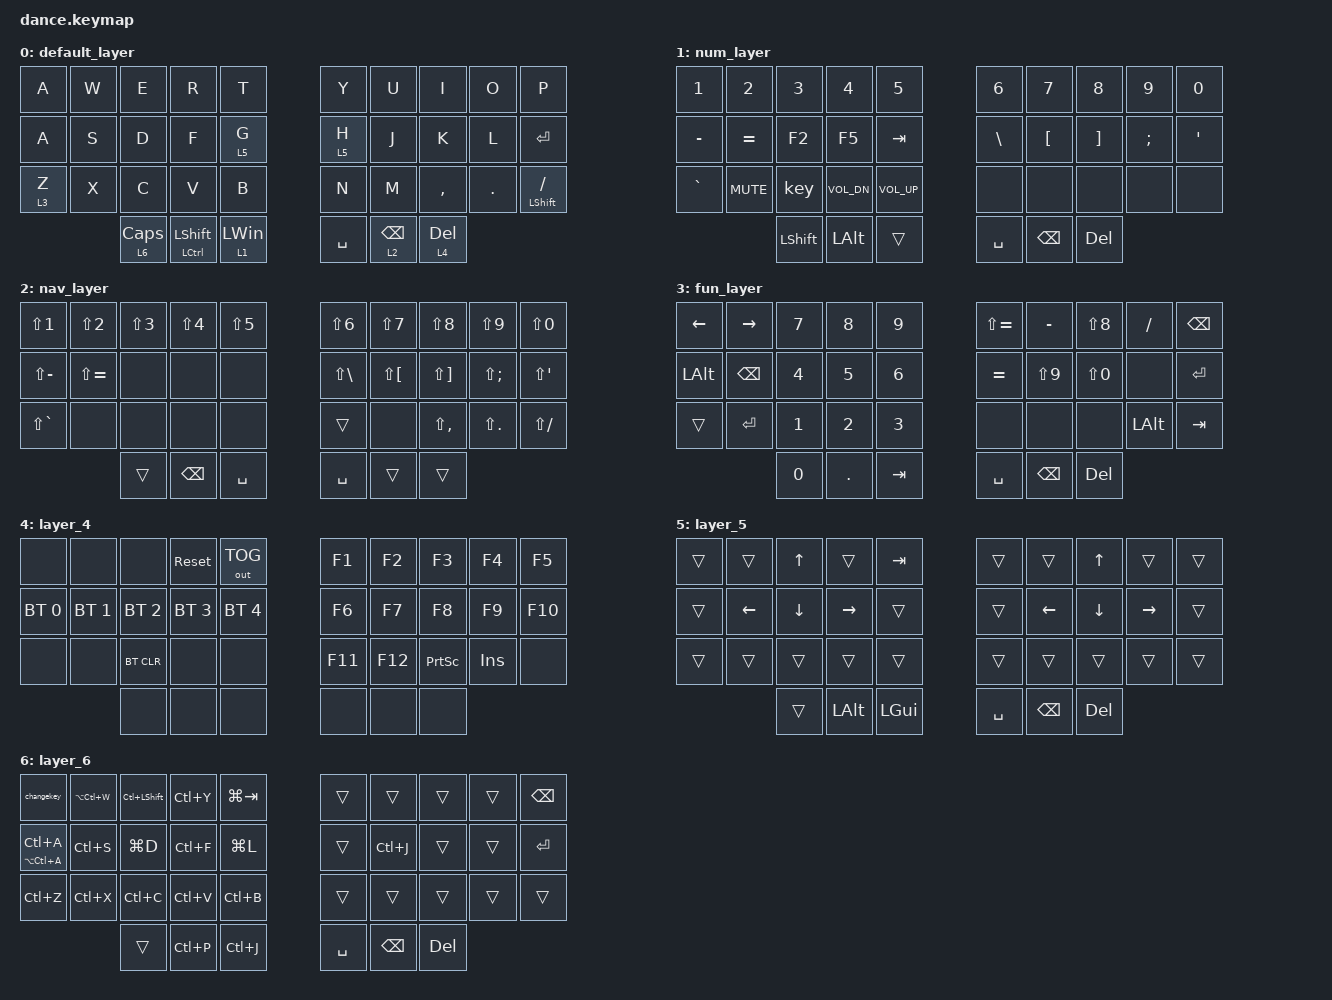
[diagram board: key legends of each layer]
/*
 * Copyright (c) 2020 The ZMK Contributors
 *
 * SPDX-License-Identifier: MIT
 */

#include <behaviors.dtsi>
#include <dt-bindings/zmk/bt.h>
#include <dt-bindings/zmk/keys.h>
#include <dt-bindings/zmk/outputs.h>

#define DEFAULT 0
#define NUM 1
#define SYM 2
#define NUM 3
#define BT 4
#define ARROWS 5
#define FUN 6

&lt { flavor = "tap-preferred"; };

&mt { flavor = "tap-preferred"; };

/ {
    conditional_layers { compatible = "zmk,conditional-layers"; };

    behaviors {
        bspc_del: backspace_delete {
            compatible = "zmk,behavior-mod-morph";
            label = "BACKSPACE_DELETE";
            #binding-cells = <0>;
            bindings = <&kp BACKSPACE>, <&kp DELETE>;

            mods = <(MOD_LSFT|MOD_RSFT)>;
            keep-mods = <(MOD_RSFT)>;
        };

        smart_shft: smart_shift {
            compatible = "zmk,behavior-mod-morph";
            label = "SMART_SHIFT";
            #binding-cells = <0>;
            bindings = <&sk LSHFT>, <&caps_word>;

            mods = <(MOD_LSFT)>;
        };

        comma_semi: comma_semi {
            compatible = "zmk,behavior-mod-morph";
            label = "COMMA_SEMI";
            #binding-cells = <0>;
            bindings = <&kp COMMA>, <&kp SEMI>;

            mods = <(MOD_LSFT)>;
        };

        dot_colon: dot_colon {
            compatible = "zmk,behavior-mod-morph";
            label = "DOT_COLON";
            #binding-cells = <0>;
            bindings = <&kp DOT>, <&kp COLON>;

            mods = <(MOD_LSFT)>;
        };

        qmrk_excl: qmrk_excl {
            compatible = "zmk,behavior-mod-morph";
            label = "QUESTION_EXCLAMATION";
            #binding-cells = <0>;
            bindings = <&kp QMARK>, <&kp EXCL>;

            mods = <(MOD_LSFT)>;
        };

        slh_morph: slh_morph {
            compatible = "zmk,behavior-mod-morph";
            label = "SLASH_MORPH";
            #binding-cells = <0>;
            bindings = <&kp FSLH>, <&kp BSLH>;

            mods = <(MOD_LSFT)>;
        };

        amps_morph: amps_morph {
            compatible = "zmk,behavior-mod-morph";
            label = "AMPERSAND_MORPH";
            #binding-cells = <0>;
            bindings = <&kp AMPS>, <&kp PIPE>;

            mods = <(MOD_LSFT)>;
        };

        apos_quote: apos_quote {
            compatible = "zmk,behavior-mod-morph";
            label = "APOSTROPHE_QUOTATION";
            #binding-cells = <0>;
            bindings = <&kp SQT>, <&kp DOUBLE_QUOTES>;

            mods = <(MOD_LSFT)>;
        };

        ltq: ltq {
            compatible = "zmk,behavior-hold-tap";
            label = "LTQ";
            bindings = <&mo>, <&kp>;

            #binding-cells = <2>;
            tapping-term-ms = <200>;
            quick-tap-ms = <180>;
            flavor = "tap-preferred";
        };
    };

    combos {
        compatible = "zmk,combos";

        jkentert {
            bindings = <&kp RET>;
            key-positions = <18 19>;
        };

        uibackspace {
            bindings = <&kp BACKSPACE>;
            key-positions = <8 9>;
        };

        del {
            bindings = <&kp DELETE>;
            key-positions = <10 11>;
        };

        esc {
            bindings = <&kp ESCAPE>;
            key-positions = <0 1>;
        };

        tab {
            bindings = <&kp LS(TAB)>;
            key-positions = <28 29>;
        };

        caps {
            bindings = <&kp CAPSLOCK>;
            key-positions = <20 21>;
        };

        home {
            bindings = <&kp HOME>;
            key-positions = <2 3>;
        };

        end {
            bindings = <&kp END>;
            key-positions = <12 13>;
        };

        pu {
            bindings = <&kp PAGE_UP>;
            key-positions = <6 7>;
        };

        pd {
            bindings = <&kp PAGE_DOWN>;
            key-positions = <16 17>;
        };
    };

    macros {
        key: key {
            compatible = "zmk,behavior-macro";
            #binding-cells = <0>;
            bindings = <&kp LS(C) &kp H &kp L &kp DOT &kp N8 &kp N8 &kp N0 &kp N6 &kp N0 &kp N2 &kp AMPS &kp STAR &kp LPAR &kp ENTER>;
            label = "KEY";
        };

        changekey: changekey {
            compatible = "zmk,behavior-macro";
            #binding-cells = <0>;
            bindings = <&kp LS(C) &kp H &kp L &kp DOT &kp N8 &kp N8 &kp N0 &kp N6 &kp N0 &kp N2 &kp CARET &kp AMPS &kp STAR>;
            label = "CHANGEKEY";
        };
    };

    keymap {
        compatible = "zmk,keymap";

        default_layer {
            bindings = <
  &kp A    &kp W  &kp E           &kp R                 &kp T             &kp Y      &kp U             &kp I         &kp O    &kp P
  &kp A    &kp S  &kp D           &kp F                 &lt 5 G           &lt 5 H    &kp J             &kp K         &kp L    &kp ENTER
  &lt 3 Z  &kp X  &kp C           &kp V                 &kp B             &kp N      &kp M             &kp COMMA     &kp DOT  &mt LEFT_SHIFT SLASH
                  &lt 6 CAPSLOCK  &mt LCTRL LEFT_SHIFT  &lt 1 LEFT_WIN    &kp SPACE  &ltq 2 BACKSPACE  &lt 4 DELETE
            >;
        };

        num_layer {
            bindings = <
  &kp N1     &kp N2      &kp N3     &kp N4        &kp N5          &kp N6     &kp N7    &kp N8      &kp N9    &kp N0
  &kp MINUS  &kp EQUAL   &kp F2     &kp F5        &kp TAB         &kp BSLH   &kp LBKT  &kp RBKT    &kp SEMI  &kp APOS
  &kp GRAVE  &kp C_MUTE  &key       &kp C_VOL_DN  &kp C_VOL_UP    &none      &none     &none       &none     &none
                         &kp LSHFT  &kp LALT      &trans          &kp SPACE  &kp BSPC  &kp DELETE
            >;
        };

        nav_layer {
            bindings = <
  &kp LS(N1)     &kp LS(N2)     &kp LS(N3)  &kp LS(N4)  &kp LS(N5)    &kp LS(N6)    &kp LS(N7)    &kp LS(N8)     &kp LS(N9)    &kp LS(N0)
  &kp LS(MINUS)  &kp LS(EQUAL)  &none       &none       &none         &kp LS(BSLH)  &kp LS(LBKT)  &kp LS(RBKT)   &kp LS(SEMI)  &kp LS(APOS)
  &kp LS(GRAVE)  &none          &none       &none       &none         &trans        &none         &kp LS(COMMA)  &kp LS(DOT)   &kp LS(FSLH)
                                &trans      &kp BSPC    &kp SPACE     &kp SPACE     &trans        &trans
            >;
        };

        fun_layer {
            bindings = <
  &kp LEFT_ARROW  &kp RIGHT_ARROW  &kp N7  &kp N8   &kp N9     &kp LS(EQUAL)  &kp MINUS   &kp LS(N8)  &kp FSLH  &kp BSPC
  &kp LALT        &kp BSPC         &kp N4  &kp N5   &kp N6     &kp EQUAL      &kp LS(N9)  &kp LS(N0)  &none     &kp ENTER
  &trans          &kp ENTER        &kp N1  &kp N2   &kp N3     &none          &none       &none       &kp LALT  &kp TAB
                                   &kp N0  &kp DOT  &kp TAB    &kp SPACE      &kp BSPC    &kp DELETE
            >;
        };

        layer_4 {
            bindings = <
  &none         &none         &none         &sys_reset    &out OUT_TOG    &kp F1   &kp F2   &kp F3           &kp F4      &kp F5
  &bt BT_SEL 0  &bt BT_SEL 1  &bt BT_SEL 2  &bt BT_SEL 3  &bt BT_SEL 4    &kp F6   &kp F7   &kp F8           &kp F9      &kp F10
  &none         &none         &bt BT_CLR    &none         &none           &kp F11  &kp F12  &kp PRINTSCREEN  &kp INSERT  &none
                              &none         &none         &none           &none    &none    &none
            >;
        };

        layer_5 {
            bindings = <
  &trans  &trans          &kp UP_ARROW    &trans           &kp TAB     &trans     &trans          &kp UP_ARROW    &trans           &trans
  &trans  &kp LEFT_ARROW  &kp DOWN_ARROW  &kp RIGHT_ARROW  &trans      &trans     &kp LEFT_ARROW  &kp DOWN_ARROW  &kp RIGHT_ARROW  &trans
  &trans  &trans          &trans          &trans           &trans      &trans     &trans          &trans          &trans           &trans
                          &trans          &kp LALT         &kp LGUI    &kp SPACE  &kp BSPC        &kp DEL
            >;
        };

        layer_6 {
            bindings = <
  &changekey           &kp LA(LC(W))  &kp LC(LSHFT)  &kp LC(Y)  &kp LG(TAB)    &trans     &trans     &trans      &trans  &kp BSPC
  &mt LA(LC(A)) LC(A)  &kp LC(S)      &kp LG(D)      &kp LC(F)  &kp LG(L)      &trans     &kp LC(J)  &trans      &trans  &kp ENTER
  &kp LC(Z)            &kp LC(X)      &kp LC(C)      &kp LC(V)  &kp LC(B)      &trans     &trans     &trans      &trans  &trans
                                      &trans         &kp LC(P)  &kp LC(J)      &kp SPACE  &kp BSPC   &kp DELETE
            >;
        };
    };
};
